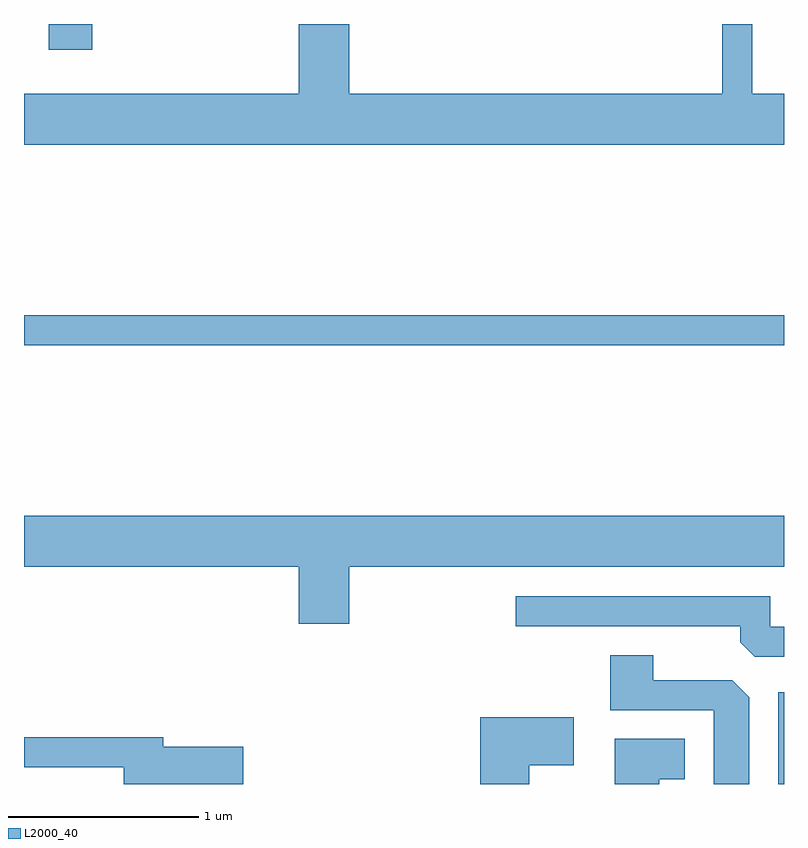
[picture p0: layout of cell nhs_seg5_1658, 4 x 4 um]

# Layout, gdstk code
import gdstk
lib = gdstk.Library(unit=1e-6, precision=1e-09)
def R(c, l, rs):  # rectangles x0, y0, x1, y1
    for r in rs: c.add(gdstk.rectangle(r[:2], r[2:], *l))
def P(c, l, *ps):  # polygons
    for p in ps: c.add(gdstk.Polygon(p, *l))
L2000_40 = (2000, 40)

nhs_seg5_1658 = lib.new_cell('nhs_seg5_1658')
R(nhs_seg5_1658, L2000_40, [(237.581,1480.072,237.611,1480.554), (233.611,1482.381,237.611,1482.539), (233.741,1483.936,233.969,1484.072)])
P(nhs_seg5_1658, L2000_40, [(237.611,1483.704),(237.444,1483.704),(237.444,1484.072),(237.286,1484.072),(237.286,1483.704),(235.324,1483.704),(235.324,1484.072),(235.056,1484.072),(235.056,1483.704),(233.611,1483.704),(233.611,1483.436),(237.611,1483.436)],
  [(235.324,1481.216),(237.611,1481.216),(237.611,1481.484),(233.611,1481.484),(233.611,1481.216),(235.056,1481.216),(235.056,1480.916),(235.324,1480.916)],
  [(237.611,1480.899),(237.539,1480.899),(237.539,1481.059),(236.198,1481.059),(236.198,1480.901),(237.381,1480.901),(237.381,1480.817),(237.457,1480.741),(237.611,1480.741)],
  [(237.429,1480.529),(237.339,1480.619),(236.924,1480.619),(236.924,1480.749),(236.696,1480.749),(236.696,1480.461),(237.241,1480.461),(237.241,1480.072),(237.429,1480.072)],
  [(236.269,1480.171),(236.504,1480.171),(236.504,1480.424),(236.011,1480.424),(236.011,1480.072),(236.269,1480.072)],
  [(234.764,1480.269),(234.344,1480.269),(234.344,1480.319),(233.611,1480.319),(233.611,1480.161),(234.136,1480.161),(234.136,1480.072),(234.764,1480.072)],
  [(236.954,1480.096),(237.089,1480.096),(237.089,1480.309),(236.721,1480.309),(236.721,1480.072),(236.954,1480.072)])

lib.write_gds('nhs_seg5_1658.gds')
